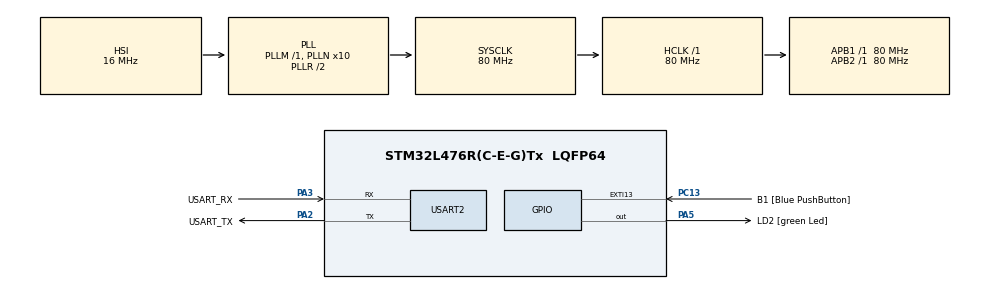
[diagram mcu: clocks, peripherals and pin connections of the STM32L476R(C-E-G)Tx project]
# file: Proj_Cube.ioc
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Mcu.Family=STM32L4
Mcu.Name=STM32L476R(C-E-G)Tx
Mcu.Package=LQFP64
NVIC.PriorityGroup=NVIC_PRIORITYGROUP_4
NVIC.TIM6_DAC_IRQn=true\:0\:0\:false\:false\:true\:false\:true
NVIC.TimeBase=TIM6_DAC_IRQn
NVIC.TimeBaseIP=TIM6
PA13\ (JTMS-SWDIO).GPIO_Label=TMS
PA13\ (JTMS-SWDIO).Mode=Serial_Wire
PA13\ (JTMS-SWDIO).Signal=SYS_JTMS-SWDIO
PA14\ (JTCK-SWCLK).GPIO_Label=TCK
PA14\ (JTCK-SWCLK).Mode=Serial_Wire
PA14\ (JTCK-SWCLK).Signal=SYS_JTCK-SWCLK
PA2.GPIO_Label=USART_TX
PA2.GPIO_Mode=GPIO_MODE_AF_PP
PA2.GPIO_PuPd=GPIO_NOPULL
PA2.GPIO_Speed=GPIO_SPEED_FREQ_VERY_HIGH
PA2.Mode=Asynchronous
PA2.Signal=USART2_TX
PA3.GPIO_Label=USART_RX
PA3.GPIO_Mode=GPIO_MODE_AF_PP
PA3.GPIO_PuPd=GPIO_NOPULL
PA3.GPIO_Speed=GPIO_SPEED_FREQ_VERY_HIGH
PA3.Mode=Asynchronous
PA3.Signal=USART2_RX
PA5.GPIO_Label=LD2 [green Led]
PA5.GPIO_ModeDefaultOutputPP=GPIO_MODE_OUTPUT_PP
PA5.GPIO_PuPd=GPIO_NOPULL
PA5.GPIO_Speed=GPIO_SPEED_FREQ_LOW
PA5.Signal=GPIO_Output
PC13.GPIO_Label=B1 [Blue PushButton]
PC13.GPIO_ModeDefaultEXTI=GPIO_MODE_IT_FALLING
PC13.GPIO_PuPd=GPIO_NOPULL
PC13.Signal=GPXTI13
PC14-OSC32_IN\ (PC14).Mode=LSE-External-Oscillator
PC14-OSC32_IN\ (PC14).Signal=RCC_OSC32_IN
PC15-OSC32_OUT\ (PC15).Mode=LSE-External-Oscillator
PC15-OSC32_OUT\ (PC15).Signal=RCC_OSC32_OUT
ProjectManager.HeapSize=0x200
ProjectManager.StackSize=0x400
ProjectManager.TargetToolchain=MDK-ARM V5.27
RCC.ADCFreq_Value=64000000
RCC.AHBFreq_Value=80000000
RCC.APB1Freq_Value=80000000
RCC.APB1TimFreq_Value=80000000
RCC.APB2Freq_Value=80000000
RCC.APB2TimFreq_Value=80000000
RCC.CortexFreq_Value=80000000
RCC.HCLKFreq_Value=80000000
RCC.HSE_VALUE=8000000
RCC.HSI_VALUE=16000000
RCC.MSI_VALUE=4000000
RCC.PLLN=10
RCC.PLLSourceVirtual=RCC_PLLSOURCE_HSI
RCC.PREFETCH_ENABLE=1
RCC.SYSCLKFreq_VALUE=80000000
RCC.SYSCLKSource=RCC_SYSCLKSOURCE_PLLCLK
RCC.USBFreq_Value=64000000
RCC.VCOOutputFreq_Value=160000000
USART2.VirtualMode-Asynchronous=VM_ASYNC
VP_SYS_VS_tim6.Mode=TIM6
board=NUCLEO-L476RG

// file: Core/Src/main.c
/* USER CODE BEGIN Header */
/**
  ******************************************************************************
  * @file           : main.c
  * @brief          : Main program body
  ******************************************************************************
  * @attention
  *
  * <h2><center>&copy; Copyright (c) 2021 STMicroelectronics.
  * All rights reserved.</center></h2>
  *
  * This software component is licensed by ST under BSD 3-Clause license,
  * the "License"; You may not use this file except in compliance with the
  * License. You may obtain a copy of the License at:
  *                        opensource.org/licenses/BSD-3-Clause
  *
  ******************************************************************************
  */
/* USER CODE END Header */
#include "main.h"
#include "usart.h"
#include "gpio.h"

/* USER CODE BEGIN Includes */

/* En esta seccion se incluyen los archivos de cabecera (.h) que quieras usar en
   tu proyecto. Los archivos .h vienen siendo como una especie de interfaz que te
   permite utilizar funciones y variables disponibles en otros archivos de codigo
   fuente o en bibliotecas ya compiladas (donde no ves el codigo pero tienes la
   funcionalidad).

   Cuando se genera un proyecto utilizando el STM32CubeMx, en la generacion del
   codigo se incluyen estas "secciones" especiales, delimitadas usando comentarios
   con el formato USER ... BEGIN ... y USER ... END ...

   La idea es que, lo que agregues aqui se conserve cuando vuelvas a generar el
   proyecto del Cube, es algo asi como, "esto no me lo borres". Tambien en el
   proyecto del Cube hay una opcion que debe estar seleccionada para que esto se
   cumpla, en especifico es la opcion 'Keep user code when re-generating', disponible
   en las opciones de generacion del proyecto [Project Manager -> Code Generator]

   //ESTA OPCION ESTA COMO DEFAULT,POR LO QUE NO TENGO QUE IR A SELECIONARLA DIRECTAMENTE

   La intencion con este proyecto es que te lleves una idea general de la estructura
   generada en el Cube y puedas comenzar a familiarizarte con este tema de la programacion
   y de manera inicial el uso del FreeRTOS (aunque los conceptos base son identicos para
   casi todos los sistemas operativos de tiempo real).

   Inicialmente, guiate por los comentarios para mantener un orden en la inclusion de nuevos
   elementos al programa, o sea, donde diga 'pon aqui las variables' pues haz eso.

   Por convencion, los programas en lenguage C "comienzan" su ejecucion en una funcion
   llamada main() [esto es una mentirilla piadosa, mas adelante veremos que no es tan asi].

   En esa funcion generalmente se inicializan los recursos a utilizar en la ejecucion del programa
   y luego se pasa a la ejecucion de las funcionalidades que quieres que haga tu firmware.

   Tipicamente, un programa desarrollado para una PC esta pensado para brindar sus funcionalidades
   y cuando el usuario no las necesita mas lo cierra y fin del cuento. Este enfoque es valdido para
   una PC pues en esta se pueden hacer infinidad de cosas diferentes dado su poder de procesamiento.

   En contraste, un sistema embebido a base de microcontroladores, generalmente esta pensado para la
   realizacion de una o varias tareas especificas que no cambian de modo frecuente. Por ejemplo, en
   el caso de un horno de microondas, su funcion en general es calentar la comida, quizas tenga mil
   modos de trabajo pero es solamente eso, calentar la comida.

   En estos casos, los programas no terminan como los desarrollados para PC sino que siguen una estructura
   tipica como la siguiente:

   void main()
   {
        int entrada_sensor;
        int salida_actuador;

        // codigo de inicializacion
        // ...

        configurar_perifericos();

        // codigo de ejecucion de las funcionalidades
        // implementado por lo general como un ciclo infinito
        // ya que una vez en ejecucion solamente y siempre, se
        // hara lo mismo

        while (1)
        {
            // hacer lo suyo aqui.

            // por ejemplo, "mirar" que pasa en el mundo exterior
            entrada_sensor = leer_sensores();

            // procesar esa informacion y actuar en consecuencia
            salida_actuador = procesar_datos(entrada_sensor);

            // y tomar una accion en respuesta a esos eventos y posiblemente otros de estado
            mover_actuadores(salida_actuador);
        }
   }

   A lo anterior se agrega el uso de interrupciones para responder a eventos externos, etc.
   Estas interrupciones al final lo que hacen es desencadenar la ejecucion de funciones
   especiales, llamadas manejadores de interrupcion que no son llamadas por el desarrollador
   directamente, sino que es el compilador quien "por detras del telon" hace lo suyo para
   que el micro vaya al lugar indicado ante estos eventos de interrupcion. Por lo general esta
   "magia" se apoya en el uso de nombres reservados para interrupciones o mediante el uso de
   palabras claves (no en este caso pero por ejemplo __interrupt, ISR, etc., eso depende del micro
   y el compilador). Dado que las interrupciones no reciben ni devuelven datos su prototipo es el
   siguiente:

   //VI QUE VARIAS FUNCIONES DE FREERTOS(O MACROS PARA SER MAS ESPECIFICOS SI NO ME EQUIVOCO)
   //QUE SE EJECUTEN DENTRO DE LAS IT DEBEN SER DIFERENCIADAS,NORMALMENTE AÑADIENDOLE EL SUFIJO ISR

   void manejador_interrupcion(void)
   {
        int fuente_interrupcion;
        char dato;

        // aqui dentro quizas haya que identificar en concreto que interrupcion fue
        // en caso de haber una misma interrupcion para varias fuentes como en un puerto
        // serie que pide interrupcion tanto para rx como para tx.

        fuente_interrupcion = leer_fuente_interrupcion();

        // tomar decisiones en funcion de lo que se desee hacer
        if (fuente_interrupcion == Interrupcion_PS_Rx)
        {
            // fue por una recepcion de datos del puerto serie. hacer algo con el dato rx
            dato = leer_ps();

            // 'limpiar' la fuente de interrupcion en caso necesario
            limpiar_int_ps_rx();
        }

        // ... evaluar otras posibles interrupciones, etc.
   }
   //AQUI HABIA UNA COMENTARIO IREELEVANTE PERO USE EL GIT PARA VOLVER A LA VESION ANTERIOR

   Haciendo una comparacion con el mundo de Arduino, que quizas hayas visto previamente, seria algo
   como lo siguiente:

   void main()
   {
        // En el entorno tipico de Arduino, cuando creas un sketch, debes desarrollar tu proyecto usando
        // dos funciones predefinidas, setup() y loop() y queda oculto el resto del programa. En esencia
        // lo que pasa por detras del telon es algo como esto:

        setup();    // Aqui haces tus inicializaciones de bibliotecas, de los perifericos que quieras usar, etc.

        while (1)
        {
            // aqui se llama continuamente la funcion loop() que es donde debes poner a ejecutar las funcionalidades
            // de tus proyecto en Arduino.
            loop();
        }
   }

   Este codigo tu no lo ves de forma predeterminada sino algo como esto:

   void setup()
   {

   }

   void loop()
   {

   }

   --------------------------------------------------------------------------------------------------------------------
   //A PARTIR DE AQUI CREARE OTRS RAMA
   //TERMINARÉ DE TRABAJAR CON LAS RAMAS PARA SEGUIR ANALIZANDO EL CODIGO

   Esta filosofia del setup()/loop() o inicializacion/ciclo infinito es valida solamente cuando el proyecto no es muy
   complejo, pero tiene el problema de no ser escalable, ademas de ser muy dificil de mantener cuando intentar agregar
   otras funcionalidades, etc, donde llega el momento que se vuelve una locura que no funciona como se espera. Es en este
   entorno que entran a jugar los sistemas operativos, en concreto los llamados de tiempo real. Casi siempre que se dice
   de tiempo real se piensa en algo muy rapido, casi instantaneo. Yo en lo particular prefiero pensarlo como sistemas
   operativos de tiempo preciso, o sea, que cumpla con los requisitos temporales que me interesa tener (ahora esto no es fundamental)

   La idea con los sistemas operativos es "dividir" el trabajo en diferentes "tareas", encargadas de funciones bien definidas
   y solo a eso. Este enfoque permite una mejor organizacion del firmware y hace mucho mas facil poder resolver problemas en
   partes especificas del sistema sin necesidad de tocar otras que ya funcionan bien. En esencia es como si tuvieras varios programas
   ejecutandose "simultaneamente" (mentirilla piadosa aqui tambien a menos que tengas un procesador con varios nucleos) y con
   posibilidades de intercambio de informacion entre ellos. Una tarea no es mas que una funcion parecida al main() en el sentido
   que puede tener una inicializacion y debe* tener un ciclo infinito donde hace lo suyo. El * es porque existen variantes pero es lo mas
   comun.

   void tarea1(void* pvParam)
   {
        // inicializacion
        // ....

        // ciclo infinito
        for ( ; ; )
        {
            // hacer lo suyo aqui
            // ...
        }
   }

   void tarea2(void* pvParam)
   {
        // inicializacion tarea 2
        // ...

        // ciclo infinito tarea 2
        while (1)   // esta forma y el for (;;) son equivalentes.
        {
            // hacer lo suyo 2 aqui
            // ...
        }
   }

   Es posible mandarle datos a las tareas en el momento en que son creadas, eso se hace a traves del argumento
   pvParam. Un uso tipico de esto puede ser la ejecucion de una tarea que necesite saber determinados datos antes
   de hacer su trabajo.

   //EN UN PROGRAMA DE PRACTICA USE LAS VARIABLES PARA CREAR VARIAS INSTANCIAS A PARTIR DE UNA UNICA FUNCION GENERADORA
   //AL FINAL ERAN 2 TAREAS QUE HACIAN PARPADEAR EL LED,LO QUE EL TIEMPO DE PARPADEO LO PASE COMO VARIABLE
   //ASI CON LA MISMA FUNCION IMPLEMENTA LAS 2 TAREAS

   En estos casos, la forma del programa cambia a una similar a esta:

   void main(void)
   {
        // hacer inicializaciones por ejemplo del hardware o recursos globales de la aplicacion

        // crear las tareas que sean necesarias (esto no solo puede ser aqui, tambien en otros lugares se pueden
        // crear nuevas tareas)

		//TAMBIEN SE VPUEDEN CREAR TAREAS DENTRO DE OTRAS TAREAS

        crear_tarea(tarea1, "nombre_tarea1", prioridad, ...);

        crear_tarea(tarea2, "nombre2", prioridad, ...);

        // crear otras cosas utilizadas para la sincronizacion y comunicacion entre tareas
        // por ejemplo colas, semaforos, etc.
        // ...

        // una vez creado todo lo requerido inicialmente, arrancar el planificador del sistema operativo

        arrancar_planificador_os();//SI,QUE CAMBIO LA NOMENCLATURA CUANDO SE USA CMSIS

        // una vez arrancado el planificador del SO la ejecucion del main finaliza y solamente se ejecutan
        // las tareas definidas previamente y dos tareas adicionales (de forma predeterminada). Estas dos
        // tareas adicionales son la tarea IDLE (desocupado) que se ejecuta siempre que el micro no tenga
        // mas nada que hacer, seria el equivalente al while (1) {} que habia antes en el main y otra tarea
        // que lleva el control de los temporizadores "software" (mas adelante ...)

		//EL IDLE TIENE TAMBIEN TIENE UNA FUNCION DE CALLBACK EN QUE SE PUEDE ESCRIBIR UN PEQUEÑO CODIGO
		//LO QUE TIENE VALIAS LIMITACIONES

        // teniendo en cuenta lo anterior, si la ejecucion llega a este punto (cosa que NO deberia pasar)
        // indica que hubo un problema a la hora de arrancar el SO, generalmente por falta de memoria, etc.

        si_llego_aqui_hubo_problemas();     // esto nunca deberia ejecutarse pero puede servir como medio
                                            // de diagnostico de problemas.
   }
   //EFECTIVAMENTE,EN LOS PRIMEROS PROGRAMAS QUE HICE LLEGABA AHI

 */

/* Como nos interesa utilizar el FreeRTOS debemos incluir sus archivos de cabecera */
#include "FreeRTOS.h"       // Siempre
#include "task.h"           // Para poder usar tareas
//ESTO LO HACE SIMPRE AUTOMATICO EL CUBEMX SIEMPRE NO?

/* USER CODE END Includes */

/* USER CODE BEGIN PTD */

/*
    En esta seccion es recomendable poner los 'typedef' especificos del programa (aunque lo sugerido realmente es hacerlo en
    ficheros .h (de cabecera) para que sea mas facil su utilizacion en otros archivos de codigo fuente, etc).

//

  En esencia el typedef es una forma de crear un nuevo nombre o alias para un tipo de datos ya existente (que puede ser otro typedef tambien).
    Por ejemplo, existen un grupo de tipos de datos basicos int (enteros), float y double (numeros de punto flotante, o sea, con coma),
    asi como otros tipos compuestos como estructuras y uniones (struct / union). El typedef lo que hace es crear un nombre nuevo, que
    puede ser usado en lugar de esos tipos de datos predefinidos.

    typedef int NUMERO_ENTERO;      // Esto crea un nuevo nombre llamado NUMERO_ENTERO, que dondequiera que el compilador se lo encuentre
                                    // sabra que se trata de un numero entero (en este caso con signo, o sea, puede incluir numeros positivos,
                                    // y negativos.

    typedef unsigned int NUM_SIN_SIGNO;     // De modo similar al anterior pero solo admite numeros >= 0 y menores que 2^32-1 = 4294967295 asumiento
                                            // 32 bits.

    Asi, una vez definidos esos typedef puedes decir en tu codigo algo como esto:

	///EN LA PARTE DE LAS MAQUINAS DE ESTADO ANALIZANDO UN POCO EL CODIGO VI UN POCO DE LOS STRUCT Y ENUM
    // Y LEI QUE ERA UNA BUENA PRACTICA EUSAR TYPEDEF LUEGO DE STRUCT,ASI LUEGO SE ASIGNA ESE TUPO DE DATO MAS FACIL

	void main(void)
    {
        NUMERO_ENTERO   mi_variable_entera = 0;

        ....
    }

 */

/* USER CODE END PTD */

/* USER CODE BEGIN PD */

/*

    En este espacio se sugiere poner los #define propios de la aplicacion, de forma analoga a los typedefs
    es preferible ponerlos en .h y solamente poner aqui los especificos a usar en este fichero.

	//ESTO EL CUBEMX LO HACE AUTOMATICO PARA LOS PINES QUE UN0 HABILITE CREO
	//AL MENOS LO HIZO PARA LED,BOTON Y PUERTO SERIE EL LOS PROGRAMAS QUE HE HECHO

    Un #define lo que hace es basicamente sustitucion de texto, o sea, dondequiera que aparezca el texto
    inmediatamente despues del #define se sustituye por el texto a su derecha. Por ejemplo:

    #define PI  3.14159

	esto crea una constante simbolica llamada PI y su 'valor' sera 3.14159, asi cuando tengas ese texto (PI)
    el el codigo el compilador lo que hace es poner 3.14159

    float area_circulo = PI * radio * radio;

    esta linea de codigo, antes de ser compilada se convierte en lo siguiente:

    float area_circulo = 3.14159 * radio * radio;

    Esto se parece un poco al typedef pero no es lo mismo, la diferencia esta en que usando el typedef
    el compilador puede realizar verificaciones de compatibilidad entre los tipos de datos que se maneja
    en el codigo y puede determinar los requisitos para 'crear' variables, etc. Esto no funciona para el #define
    que es solamente sustitucion de texto. La utilidad mas explotada del #define es la definicion de constantes
    simbolicas como el ejemplo de PI y auxiliar en los procesos de compilacion condicional (decidir que partes
    compilar y cuales no en dependencia de esos defines)

 */

/* USER CODE END PD */

/* USER CODE BEGIN PM */

/*
    Este tema de los macros viene siendo una forma un poco primitiva de definir funciones pero que
    no es recomendable. En esencia hace uso del #define para definir supuestas funciones. Por ejemplo:

    #define CALC_CUADRADO(x)    ((x) * (x))

    Este macro permite calcular el cuadrado de dos numeros que pueden ser enteros o de punto flotante.
    Aqui la x seria el 'argumento' del macro. Asi cuando el programa se dice lo siguiente:

    int lado_cuadrado = 10;
    int area_cuadrado = CALC_CUADRADO(lado_cuadrado);

    en realidad lo que procesa el compilador es esto:

    int area_cuadrado = ((lado_cuadrado) * (lado_cuadrado));

    o sea, sustituye no solamente el nombre del macro, sino tambien sus argumentos, en este caso la 'x' la cambia por
    el nombre de la variable 'lado_cuadrado'.

    Es necesario siempre utilizar los parentesis al usar las variables de los macros, sino fuera asi pueden haber problemas
    con el orden de ejecucion de las operaciones. Por ejemplo CALC_CUADRADO(3 + 4) sin los parentesis rodeando la x en la definicion
    del macro se convertiria en:

    (3 + 4 * 3 + 4) y no en ((3 + 4) * (3 + 4)) cuyos resultados son: (3+12+4) y (7 * 7) respectivamente con el primero mal.
 */

/* USER CODE END PM */

/* USER CODE BEGIN PV */

/*
  Aqui agregar las variables privadas del proyecto. Si se desea poder usar estas variables desde otros ficheros se deben escribir asi:

  int mi_variable_global;

  Para poder usar esta variable desde otro fichero de codigo fuente se debe usar:

  extern int mi_variable_global;

  ------------------------------------------------------------------------------------------

  Si por el contrario (que es lo recomendado) no se desea, se le agrega el calificador static en la declaracion:

  static int mi_variable_solo_para_este_fichero;

 */

/* USER CODE END PV */

void SystemClock_Config(void);
/* USER CODE BEGIN PFP */

/*

    Aqui se colocan los prototipos de funciones definidas en este archivo de codigo fuente.
    Un prototipo no es mas que el encabezado de la funcion, que incluye informacion sobre el tipo
    de datos que devuelve o void si no devuelve nada, el nombre de la funcion propiamente dicha y
    los argumentos que recibe. Para el caso de los argumentos basta con decir el tipo de datos
    aunque para mejor legibilidad es apropiado poner tambien el nombre de esos argumentos.

    Por ejemplo, en las lineas de arriba dice

    void SystemClock_Config(void);

    Eso le avisa al compilador que en algun lugar de este fichero, tipicamente mas abajo sino no tiene sentido
    usar prototipos, hay una funcion llamada SystemClock_Config, que no devuelve nada ni tampoco recibe ningun
    argumento, por eso el void en ambos casos.

    La necesidad de esto viene dada por el hecho de que el compilador procesa el fichero desde arriba hacia
    abajo y de izquierda a derecha, asi, si necesitas llamar alguna funcion el compilador debera saber que
    devuelve, como se llama y que necesita antes de poderla incluir en tu codigo, el solo se encarga de buscarla
    luego. Por ejemplo:

    void main(void)
    {
        int m = 10;
        int n;

        n = evaluar_funcion(m);

        ...
    }

    int evaluar_funcion(int arg)
    {
        return arg + 10;
    }

    Cuando el compilador intenta procesar este fichero dara error pues el no conoce ninguna funcion con el nombre
    'evaluar_funcion' que reciba y devuelva un numero entero. Para evitar esto basta con agregar el prototipo de la funcion
    antes de utilizarla, asi:

    int evaluar_funcion(int arg);       // esto va delante del main o antes de la funcion que la llame a ella.

	//EN LOS PROGRAMAS QUE HE ECHO LOS CREO ARRIBA,ANTES DEL MAIN
 */

 /* Prototipo de la funcion que representara la tarea_principal */
static void tarea_principal(void* parametro_sin_uso);   // static porque solo se usara en este fichero

//TENGO QUE PROBAR CREAR UNA FUNCION EN EL .H Y USARLA EN EL MAIN

/* USER CODE END PFP */

/* USER CODE BEGIN 0 */

    /*

    Aqui puedes agregar tu codigo, aunque por temas de organizacion te sugiero que sea debajo

    */

/* USER CODE END 0 */

int main(void)
{
  /* USER CODE BEGIN 1 */

    /*
        Finalmente llegamos a la funcion main() :)

        En esta parte puede ir codigo de inicializacion.

        Las funciones que vienen a continuacion garantizan que los distintos
        subsistemas del microcontrolador esten listos antes de que se ejecute tu codigo

        Recuerda que esto es un micro, no una PC, hay que configurar el hardware.

        La funcion HAL_Init() se encarga de 'mover la palanquitas' que permiten el uso de
        funciones de mas alto nivel para manejar los perifericos, etc.

        HAL quiere decir Hardware Abstraction Layer

        Luego de eso configurar los distintos 'relojes' usados por los perifericos.
        Esto lo agrega solo el Cube a partir de tus selecciones en la interfaz grafica.

        Por ejemplo, si quieres que el micro vaya a toda maquina escoges la mayor frecuencia.
        Si por el contrario te interesa tener el menor consumo de potencia posible, entoces
        debes usar la frecuencia minima posible, etc.

        Para realizar esta configuracion se llama a la funcion SystemClock_Config(), cuyo prototipo
        aparece mas arriba.

        Luego se inicializan los pines a utilizar (para un LED y un boton) y el puerto serie USART2
        para conversar con la PC, etc.

        A continuacion se crea un tarea, llamada tarea_principal que hara la honrosa mision de flashear el
        LED y finalmente se arranca el planificador de tareas del FreeRTOS.

    */

  /* USER CODE END 1 */

  /* MCU Configuration--------------------------------------------------------*/

  /* Reset of all peripherals, Initializes the Flash interface and the Systick. */
  HAL_Init();

  /* Configure the system clock */
  SystemClock_Config();

  /* Initialize all configured peripherals */
  MX_GPIO_Init();
  MX_USART2_UART_Init();
  /* USER CODE BEGIN 2 */

    /* En esta parte crear la tarea que queremos y arrancar el scheduler */
    xTaskCreate(tarea_principal,                // Funcion que ejecuta el trabajo de la tarea principal
                "nombre_tarea_principal",       // nombre de la tarea. esto es solo para depuracion
                configMINIMAL_STACK_SIZE,       // cantidad de espacio de memoria a asignar a esa tarea
                NULL,                           // argumento a pasar a la tarea (ninguno en este caso, por eso NULL)
                1,                              // prioridad (por ahora dejemoslo asi)
                NULL);                          // esto no se usa por ahora. en esencia permite tener una variable para
                                                // poder controlar la tarea o mandarle informacion una vez corriendo.

    /* Arrancar el planificador (scheduler) del FreeRTOS */
    vTaskStartScheduler();

    /* En condiciones normales, la ejecucion no llega a este punto */

  /* USER CODE END 2 */

  /* Infinite loop */
  while (1)
  {

  }
}

void SystemClock_Config(void)
{
  RCC_OscInitTypeDef RCC_OscInitStruct = {0};
  RCC_ClkInitTypeDef RCC_ClkInitStruct = {0};
  RCC_PeriphCLKInitTypeDef PeriphClkInit = {0};

  /** Initializes the RCC Oscillators according to the specified parameters
  * in the RCC_OscInitTypeDef structure.
  */
  RCC_OscInitStruct.OscillatorType = RCC_OSCILLATORTYPE_HSI;
  RCC_OscInitStruct.HSIState = RCC_HSI_ON;
  RCC_OscInitStruct.HSICalibrationValue = RCC_HSICALIBRATION_DEFAULT;
  RCC_OscInitStruct.PLL.PLLState = RCC_PLL_ON;
  RCC_OscInitStruct.PLL.PLLSource = RCC_PLLSOURCE_HSI;
  RCC_OscInitStruct.PLL.PLLM = 1;
  RCC_OscInitStruct.PLL.PLLN = 10;
  RCC_OscInitStruct.PLL.PLLP = RCC_PLLP_DIV7;
  RCC_OscInitStruct.PLL.PLLQ = RCC_PLLQ_DIV2;
  RCC_OscInitStruct.PLL.PLLR = RCC_PLLR_DIV2;
  if (HAL_RCC_OscConfig(&RCC_OscInitStruct) != HAL_OK)
  {
    Error_Handler();
  }
  /** Initializes the CPU, AHB and APB buses clocks
  */
  RCC_ClkInitStruct.ClockType = RCC_CLOCKTYPE_HCLK|RCC_CLOCKTYPE_SYSCLK
                              |RCC_CLOCKTYPE_PCLK1|RCC_CLOCKTYPE_PCLK2;
  RCC_ClkInitStruct.SYSCLKSource = RCC_SYSCLKSOURCE_PLLCLK;
  RCC_ClkInitStruct.AHBCLKDivider = RCC_SYSCLK_DIV1;
  RCC_ClkInitStruct.APB1CLKDivider = RCC_HCLK_DIV1;
  RCC_ClkInitStruct.APB2CLKDivider = RCC_HCLK_DIV1;

  if (HAL_RCC_ClockConfig(&RCC_ClkInitStruct, FLASH_LATENCY_4) != HAL_OK)
  {
    Error_Handler();
  }
  PeriphClkInit.PeriphClockSelection = RCC_PERIPHCLK_USART2;
  PeriphClkInit.Usart2ClockSelection = RCC_USART2CLKSOURCE_PCLK1;
  if (HAL_RCCEx_PeriphCLKConfig(&PeriphClkInit) != HAL_OK)
  {
    Error_Handler();
  }
  /** Configure the main internal regulator output voltage
  */
  if (HAL_PWREx_ControlVoltageScaling(PWR_REGULATOR_VOLTAGE_SCALE1) != HAL_OK)
  {
    Error_Handler();
  }
}

/* USER CODE BEGIN 4 */

/* Aqui mi super tarea flasheadora de LEDs */
//PUES YO YA FLASHEO CON TASK Y CON TIMER
static void tarea_principal(void* parametro_sin_uso)
{
    int led_encendido;

    /* Como se menciono previamente, aqui es posible realizar
       alguna inicializacion de variables, perifericos, etc.
    */
    led_encendido = 0;

    /* Ciclo infinito para la tarea hacer lo suyo, en este caso flashear el LED */
    for ( ; ; )
    {
        if (led_encendido == 0)
        {
            // Actualizar variable de estado
            led_encendido = 1;

            // Mover las palancas del hardware para encender el LED (creo q prende con 1)
            // En este caso se llama a la funcion que permite 'escribir' un pin determinado
            HAL_GPIO_WritePin(LD2_GPIO_Port, LD2_Pin, GPIO_PIN_SET);
        }
        else
        {
            // Actualizar variable de estado
            led_encendido = 0;

            // Idem al caso anterior, pero apagar en lugar de encender
            HAL_GPIO_WritePin(LD2_GPIO_Port, LD2_Pin, GPIO_PIN_RESET);
        }

        /* Agregar una demorita para poder ver el led flasheando. Si no se hace asi
           esta dificil ver algo
        */
        vTaskDelay(pdMS_TO_TICKS(1000));        // Hacer una media de 1000 ms antes de seguir.
        //ESTA MANDA A LA F AL ESTADO BLOQUEADO PARA QUE SE PUEDA USAR EL MICRO EN OTRAS COSAS MIENTRAS TANTO
		//TENGO QUE VER SI EL HAL_DELAY TAMBIEN O SOLO ESPERA OCPUANDO EL MICRO

		/* el pdMS_TO_TICKS es un macro que saca la cuenta de cuantos 'ticks' hacen falta para
        llegar a la cantidad de milisegundos que se quiere. Por defecto cada tick dura 1ms pero se
        puede cambiar */

        /* Una vez aqui, volver a hacer lo mismo, o sea, ir de nuevo a flashear el LED.

            Este pequeño programa es puramente didactico, no esta para nada optimizado. De hecho,
            en lugar de todo ese codigo de la variable de estado, etc, se simplifica usando la funcion
            HAL_GPIO_TogglePin(LD2_GPIO_Port, LD2_Pin);

            Esto puedes probarlo.
        */
    }
}

/* USER CODE END 4 */

 /**
  * @brief  Period elapsed callback in non blocking mode
  * @note   This function is called  when TIM6 interrupt took place, inside
  * HAL_TIM_IRQHandler(). It makes a direct call to HAL_IncTick() to increment
  * a global variable "uwTick" used as application time base.
  * @param  htim : TIM handle
  * @retval None
  */
void HAL_TIM_PeriodElapsedCallback(TIM_HandleTypeDef *htim)
{
  if (htim->Instance == TIM6) {
    HAL_IncTick();
  }
}

void Error_Handler(void)
{
  __disable_irq();
  while (1)
  {
  }
}

/************************ (C) COPYRIGHT STMicroelectronics *****END OF FILE****/
//Y SE ACABO
